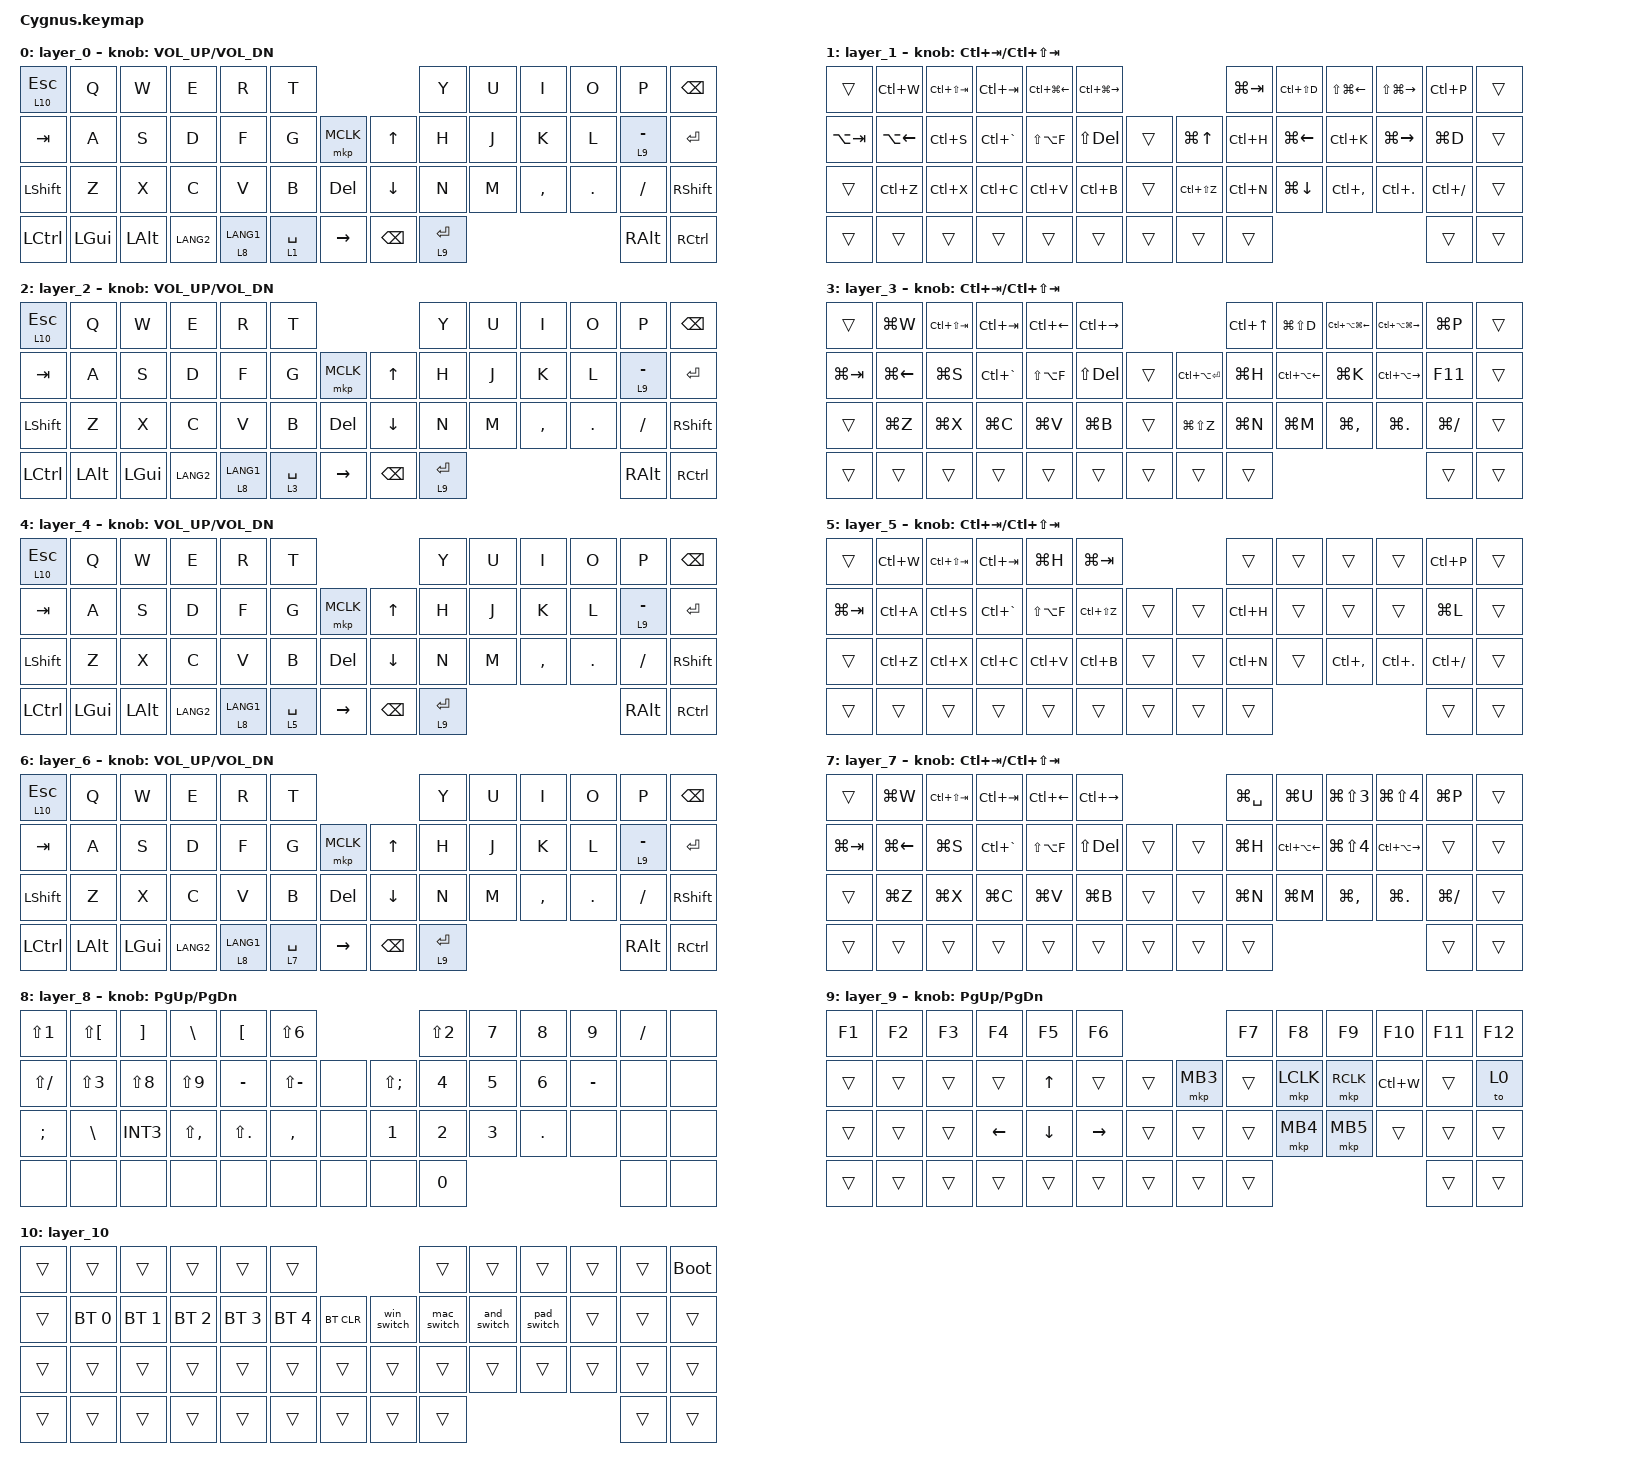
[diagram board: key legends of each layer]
#include <dt-bindings/zmk/mouse.h>
#include <behaviors.dtsi>
#include <dt-bindings/zmk/bt.h>
#include <dt-bindings/zmk/keys.h>
#include <dt-bindings/zmk/pointing.h>

// ============================================================
// Cygnus-M ZMK Keymap  (corrected)
//
// Layer map:
//   L0  Win_Base       L1  Win_Sub
//   L2  Mac_Base       L3  Mac_Sub
//   L4  Android_Base   L5  Android_Sub  (empty)
//   L6  iPad_Base      L7  iPad_Sub     (empty)
//   L8  SymNum         L9  Nav/Func
//  L10  Management
//
// Bottom-row positions (pos40–50) — sequential order:
//   40  LCTL   | 41  LGUI/LALT  | 42  LALT/LGUI  | 43  LANG2  <- 英数tap（L8アクセスなし）
//   44  L8_LT(8,LANG1) <- かなtap / L8hold  ※ 旧pos43から移動
//   45  LT(sub,SPC)   <- Spacetap / Subレイヤーhold
//   46  RIGHT(->)
//   47  BSPC          | 48  LT(9,RET) <- Entertap / L9hold
//   49  RALT   | 50  RCTL
//
// 設計確定事項（2026-06-26更新）:
//   L8アクセス: pos44 LANG1長押し（左サム）のみ <- エルゴルール準拠
//     ※ pos43(LANG2)からpos44(LANG1)へ移動（押しやすさ改善）
//     ※ lt8-L（右手Lキー）および lt8-BSPC は廃止済み
//   L9アクセス: pos48 RET長押し（右サム）+ pos25 MINUS長押しの2経路
//   pos45: 絶対に &mo 系にしないこと（bootloaderアクセス可能になるバグ）
//   pos44: &mt LALT LANG1 → &l8_lt 8 LANG1 に変更（L8アクセスをより押しやすい位置へ）
//   pos43: &l8_lt 8 LANG2 → &kp LANG2 に変更（英数のみ、L8アクセス廃止）
//   pos47: &lt 8 BSPC → &kp BSPC に変更（L8経路廃止）※旧変更
//   pos24（旧番号）: &lt 8 L → &kp L に変更（エルゴルール違反解消）※旧変更
// ============================================================

/ {
    behaviors {
        l8_lt: l8_layer_tap {
            compatible = "zmk,behavior-hold-tap";
            #binding-cells = <2>;
            flavor = "hold-preferred";
            tapping-term-ms = <200>;
            bindings = <&mo>, <&kp>;

            display-name = "L8 Layer-Tap";
        };
    };

    macros {
        // OS切り替え ＆ Bluetooth 自動接続マクロ

        win_switch: win_switch {
            compatible = "zmk,behavior-macro";
            #binding-cells = <0>;
            wait-ms = <200>;
            bindings = <&to 0 &bt BT_SEL 0>;
        };

        mac_switch: mac_switch {
            compatible = "zmk,behavior-macro";
            #binding-cells = <0>;
            wait-ms = <200>;
            bindings = <&to 2 &bt BT_SEL 1>;
        };

        and_switch: and_switch {
            compatible = "zmk,behavior-macro";
            #binding-cells = <0>;
            wait-ms = <200>;
            bindings = <&to 4 &bt BT_SEL 2>;
        };

        pad_switch: pad_switch {
            compatible = "zmk,behavior-macro";
            #binding-cells = <0>;
            wait-ms = <200>;
            bindings = <&to 6 &bt BT_SEL 3>;
        };
    };

    keymap {
        compatible = "zmk,keymap";

        // ============================================================
        // L0: Windows Base
        //   pos43 = LANG2              : tap=英数
        //   pos44 = L8_LT(8, LANG1)   : tap=かな  hold=L8(SymNum)
        //   pos45 = LT(1, SPACE)       : tap=Space hold=Win shortcuts
        // ============================================================

        layer_0 {
            bindings = <
&lt 10 ESC  &kp Q     &kp W     &kp E       &kp R           &kp T                               &kp Y      &kp U  &kp I      &kp O    &kp P        &kp BSPC
&kp TAB     &kp A     &kp S     &kp D       &kp F           &kp G        &mkp MCLK    &kp UP    &kp H      &kp J  &kp K      &kp L    &lt 9 MINUS  &kp RET
&kp LSHFT   &kp Z     &kp X     &kp C       &kp V           &kp B        &kp DEL      &kp DOWN  &kp N      &kp M  &kp COMMA  &kp DOT  &kp FSLH     &kp RSHFT
&kp LCTL    &kp LGUI  &kp LALT  &kp LANG2   &l8_lt 8 LANG1  &lt 1 SPACE  &kp RIGHT    &kp BSPC  &lt 9 RET                             &kp RALT      &kp RCTL
            >;

            sensor-bindings = <&inc_dec_kp C_VOL_UP C_VOL_DN>;
        };

        // ============================================================
        // L1: Windows Sub  (VPM shortcuts + Premiere Pro)
        //   TAB = Alt+Tab (window switch)    S = Ctrl+S (save)
        //   Z/X/C/V = Undo/Cut/Copy/Paste    B = VSCode sidebar
        //   U = Ctrl+Shift+D (apply default transition) [Premiere]
        //   G = Shift+Delete (ripple delete)             [Premiere]
        //   K = Ctrl+K (cut at playhead)                 [Premiere]
        //   ↑(inner) = Win+↑ (maximize, moved from K)
        //   ↓(inner) = Ctrl+Shift+Z (redo)               [Premiere]
        //   J/L = Win+←/→ (snap)       M = Win+↓ (minimize)
        //   / = Ctrl+/ (comment toggle)  , = Ctrl+, (settings)
        // ============================================================

        layer_1 {
            bindings = <
&trans       &kp LC(W)     &kp LC(LS(TAB))  &kp LC(TAB)    &kp LC(LG(LEFT))  &kp LC(LG(RIGHT))                           &kp LG(TAB)  &kp LC(LS(D))  &kp LS(LG(LEFT))  &kp LS(LG(RIGHT))  &kp LC(P)     &trans
&kp LA(TAB)  &kp LA(LEFT)  &kp LC(S)        &kp LC(GRAVE)  &kp LS(LA(F))     &kp LS(DEL)        &trans    &kp LG(UP)     &kp LC(H)    &kp LG(LEFT)   &kp LC(K)         &kp LG(RIGHT)      &kp LG(D)     &trans
&trans       &kp LC(Z)     &kp LC(X)        &kp LC(C)      &kp LC(V)         &kp LC(B)          &trans    &kp LC(LS(Z))  &kp LC(N)    &kp LG(DOWN)   &kp LC(COMMA)     &kp LC(DOT)        &kp LC(FSLH)  &trans
&trans       &trans        &trans           &trans         &trans            &trans             &trans    &trans         &trans                                                           &trans        &trans
            >;

            sensor-bindings = <&inc_dec_kp LC(TAB) LC(LS(TAB))>;
        };

        // ============================================================
        // L2: Mac Base
        //   col1/col2 = LALT/LGUI (Mac 配列)
        //   pos43 = LANG2              : tap=英数
        //   pos44 = L8_LT(8, LANG1)   : tap=かな  hold=L8(SymNum)
        //   pos45 = LT(3, SPACE)       : tap=Space hold=Mac shortcuts
        // ============================================================

        layer_2 {
            bindings = <
&lt 10 ESC  &kp Q     &kp W     &kp E       &kp R           &kp T                               &kp Y      &kp U  &kp I      &kp O    &kp P        &kp BSPC
&kp TAB     &kp A     &kp S     &kp D       &kp F           &kp G        &mkp MCLK    &kp UP    &kp H      &kp J  &kp K      &kp L    &lt 9 MINUS  &kp RET
&kp LSHFT   &kp Z     &kp X     &kp C       &kp V           &kp B        &kp DEL      &kp DOWN  &kp N      &kp M  &kp COMMA  &kp DOT  &kp FSLH     &kp RSHFT
&kp LCTL    &kp LALT  &kp LGUI  &kp LANG2   &l8_lt 8 LANG1  &lt 3 SPACE  &kp RIGHT    &kp BSPC  &lt 9 RET                             &kp RALT      &kp RCTL
            >;

            sensor-bindings = <&inc_dec_kp C_VOL_UP C_VOL_DN>;
        };

        // ============================================================
        // L3: Mac Sub  (VPM shortcuts + Premiere Pro — 同物理位置 = 同機能)
        //   TAB = Cmd+Tab (app switch)       S = Cmd+S (save)
        //   Z/X/C/V = Undo/Cut/Copy/Paste    B = VSCode sidebar
        //   U = Cmd+Shift+D (apply default transition) [Premiere]
        //   G = Shift+Delete (ripple delete)             [Premiere]
        //   K = Cmd+K (cut at playhead)                  [Premiere]
        //   ↑(inner) = Moom Fullscreen (moved from K)
        //   ↓(inner) = Cmd+Shift+Z (redo)                [Premiere]
        //   J/L = Moom ←/→        M = Cmd+M (minimize)
        //   / = Cmd+/ (comment toggle)  , = Cmd+, (settings)
        // ============================================================

        layer_3 {
            bindings = <
&trans       &kp LG(W)     &kp LC(LS(TAB))  &kp LC(TAB)    &kp LC(LEFT)   &kp LC(RIGHT)                             &kp LC(UP)  &kp LG(LS(D))     &kp LC(LA(LG(LEFT)))  &kp LC(LA(LG(RIGHT)))  &kp LG(P)     &trans
&kp LG(TAB)  &kp LG(LEFT)  &kp LG(S)        &kp LC(GRAVE)  &kp LS(LA(F))  &kp LS(DEL)    &trans    &kp LC(LA(RET))  &kp LG(H)   &kp LC(LA(LEFT))  &kp LG(K)             &kp LC(LA(RIGHT))      &kp F11       &trans
&trans       &kp LG(Z)     &kp LG(X)        &kp LG(C)      &kp LG(V)      &kp LG(B)      &trans    &kp LG(LS(Z))    &kp LG(N)   &kp LG(M)         &kp LG(COMMA)         &kp LG(DOT)            &kp LG(FSLH)  &trans
&trans       &trans        &trans           &trans         &trans         &trans         &trans    &trans           &trans                                                                     &trans        &trans
            >;

            sensor-bindings = <&inc_dec_kp LC(TAB) LC(LS(TAB))>;
        };

        // ============================================================
        // L4: Android Base  (L0 と同構成、サブレイヤーのみ L5)
        // ============================================================

        layer_4 {
            bindings = <
&lt 10 ESC  &kp Q     &kp W     &kp E       &kp R           &kp T                               &kp Y      &kp U  &kp I      &kp O    &kp P        &kp BSPC
&kp TAB     &kp A     &kp S     &kp D       &kp F           &kp G        &mkp MCLK    &kp UP    &kp H      &kp J  &kp K      &kp L    &lt 9 MINUS  &kp RET
&kp LSHFT   &kp Z     &kp X     &kp C       &kp V           &kp B        &kp DEL      &kp DOWN  &kp N      &kp M  &kp COMMA  &kp DOT  &kp FSLH     &kp RSHFT
&kp LCTL    &kp LGUI  &kp LALT  &kp LANG2   &l8_lt 8 LANG1  &lt 5 SPACE  &kp RIGHT    &kp BSPC  &lt 9 RET                             &kp RALT      &kp RCTL
            >;

            sensor-bindings = <&inc_dec_kp C_VOL_UP C_VOL_DN>;
        };

        // ============================================================
        // L5: Android Sub  (L1 をベースに Android 向け調整)
        //
        //   L1 と同じ位置 = 同じ機能 (VPM) ← Ctrl+key は共通
        //   変更点:
        //     R  = Meta+H   (Home         ← 仮想デスクトップ左の代替)
        //     T  = Meta+Tab (Recent apps  ← 仮想デスクトップ右の代替)
        //     TAB= Meta+Tab (App switch   ← Alt+Tab の代替)
        //     A  = Ctrl+A   (Select all   ← ブラウザ Back よりも頻用)
        //     G  = Ctrl+Shift+Z (Redo     ← Android 標準 Redo)
        //     J/K/L = trans (ウィンドウスナップ非対応)
        //     -  = Meta+L   (Lock screen  ← Win+D の代替)
        //     M  = trans    (Win+Down 相当なし)
        // ============================================================

        layer_5 {
            bindings = <
&trans       &kp LC(W)  &kp LC(LS(TAB))  &kp LC(TAB)    &kp LG(H)      &kp LG(TAB)                      &trans     &trans  &trans         &trans       &kp LC(P)     &trans
&kp LG(TAB)  &kp LC(A)  &kp LC(S)        &kp LC(GRAVE)  &kp LS(LA(F))  &kp LC(LS(Z))  &trans    &trans  &kp LC(H)  &trans  &trans         &trans       &kp LG(L)     &trans
&trans       &kp LC(Z)  &kp LC(X)        &kp LC(C)      &kp LC(V)      &kp LC(B)      &trans    &trans  &kp LC(N)  &trans  &kp LC(COMMA)  &kp LC(DOT)  &kp LC(FSLH)  &trans
&trans       &trans     &trans           &trans         &trans         &trans         &trans    &trans  &trans                                         &trans        &trans
            >;

            sensor-bindings = <&inc_dec_kp LC(TAB) LC(LS(TAB))>;
        };

        // ============================================================
        // L6: iPad Base  (L2 と同構成、サブレイヤーのみ L7)
        // ============================================================

        layer_6 {
            bindings = <
&lt 10 ESC  &kp Q     &kp W     &kp E       &kp R           &kp T                               &kp Y      &kp U  &kp I      &kp O    &kp P        &kp BSPC
&kp TAB     &kp A     &kp S     &kp D       &kp F           &kp G        &mkp MCLK    &kp UP    &kp H      &kp J  &kp K      &kp L    &lt 9 MINUS  &kp RET
&kp LSHFT   &kp Z     &kp X     &kp C       &kp V           &kp B        &kp DEL      &kp DOWN  &kp N      &kp M  &kp COMMA  &kp DOT  &kp FSLH     &kp RSHFT
&kp LCTL    &kp LALT  &kp LGUI  &kp LANG2   &l8_lt 8 LANG1  &lt 7 SPACE  &kp RIGHT    &kp BSPC  &lt 9 RET                             &kp RALT      &kp RCTL
            >;

            sensor-bindings = <&inc_dec_kp C_VOL_UP C_VOL_DN>;
        };

        // ============================================================
        // L7: iPad Sub  (L3 をベースに iPadOS 向け調整)
        //
        //   L3 と同じ位置 = 同じ機能 (VPM) ← Cmd+key は共通
        //   変更点:
        //     Y  = Cmd+Space  (Spotlight     ← Mission Control 非対応)
        //     I  = Cmd+Shift+3 (Screenshot   ← Mac 固有ショートカットの代替)
        //     O  = Cmd+Shift+4 (Screenshot→クリップボード)
        //     K  = Cmd+Shift+4 (Screenshot   ← Moom fullscreen 非対応)
        //     -  = trans      (F11=デスクトップ表示 は iPad 非対応)
        // ============================================================

        layer_7 {
            bindings = <
&trans       &kp LG(W)     &kp LC(LS(TAB))  &kp LC(TAB)    &kp LC(LEFT)   &kp LC(RIGHT)                    &kp LG(SPACE)  &kp LG(U)         &kp LG(LS(N3))  &kp LG(LS(N4))     &kp LG(P)     &trans
&kp LG(TAB)  &kp LG(LEFT)  &kp LG(S)        &kp LC(GRAVE)  &kp LS(LA(F))  &kp LS(DEL)    &trans    &trans  &kp LG(H)      &kp LC(LA(LEFT))  &kp LG(LS(N4))  &kp LC(LA(RIGHT))  &trans        &trans
&trans       &kp LG(Z)     &kp LG(X)        &kp LG(C)      &kp LG(V)      &kp LG(B)      &trans    &trans  &kp LG(N)      &kp LG(M)         &kp LG(COMMA)   &kp LG(DOT)        &kp LG(FSLH)  &trans
&trans       &trans        &trans           &trans         &trans         &trans         &trans    &trans  &trans                                                              &trans        &trans
            >;

            sensor-bindings = <&inc_dec_kp LC(TAB) LC(LS(TAB))>;
        };

        // ============================================================
        // L8: SymNum - JIS layout adjusted
        //   左手 = 記号  右手 = テンキー
        //   pos48 (右サム隣) = 0  ← トラックボール使用中も 0 入力可
        //   OS側が日本語/JIS配列の前提
        //   L8 intended output on JIS:
        //   Row1: ! ` [ ] " '   * 7 8 9 /
        //   Row2: ? # ( ) - =   + 4 5 6 -
        //   Row3: ; @ [ ] < >   , 1 2 3 .
        //   
        //   Note:
        //   ZMK keycodes below are physical operations for JIS layout.
        //   Example: &kp LS(SQT) means Shift + : key, which outputs * on JIS.
        // ============================================================

        layer_8 {
            bindings = <
        &kp LS(N1)    &kp LS(LBKT)  &kp RBKT     &kp BSLH      &kp LBKT      &kp LS(N6)                  &kp LS(N2)    &kp N7  &kp N8  &kp N9  &kp FSLH  &none
        &kp LS(FSLH)  &kp LS(N3)    &kp LS(N8)   &kp LS(N9)    &kp MINUS     &kp LS(MINUS)  &none      &kp LS(SEMI)  &kp N4  &kp N5  &kp N6  &kp MINUS  &none  &none
        &kp SEMI      &kp BSLH      &kp INT3     &kp LS(COMMA) &kp LS(DOT)   &kp COMMA      &none      &kp N1        &kp N2  &kp N3  &kp DOT  &none      &none  &none
        &none         &none         &none        &none         &none         &none          &none      &none         &kp N0                         &none  &none
            >;

            sensor-bindings = <&inc_dec_kp PG_UP PG_DN>;
        };

        // ============================================================
        // L9: Nav/Func  (オートマウス移行先レイヤー)
        //   Row1 = F1–F12
        //   左手 F/C/V/B = ↑/←/↓/→
        //   右手 H=MB3(中クリック)  J=LCLK  K=RCLK  L=Ctrl+W(タブ閉じる)
        //   右手 M=MB4(戻る)  ,=MB5(進む)
        //   RET(pos25) = &to 0  ← L9出口キー（L0に戻る）
        //   エンコーダー = ページスクロール (PG_UP/PG_DN)
        // ============================================================

        layer_9 {
            bindings = <
&kp F1  &kp F2  &kp F3  &kp F4    &kp F5    &kp F6                       &kp F7  &kp F8     &kp F9     &kp F10  &kp F11  &kp F12
&trans  &trans  &trans  &trans    &kp UP    &trans     &trans    &mkp MB3  &trans  &mkp LCLK  &mkp RCLK  &kp LC(W)  &trans   &to 0
&trans  &trans  &trans  &kp LEFT  &kp DOWN  &kp RIGHT  &trans    &trans  &trans  &mkp MB4   &mkp MB5   &trans   &trans   &trans
&trans  &trans  &trans  &trans    &trans    &trans     &trans    &trans  &trans                                 &trans   &trans
            >;

            sensor-bindings = <&inc_dec_kp PG_UP PG_DN>;
        };

        // ============================================================
        // L10: Management  (ESC 長押しでアクセス)
        //   Row1 BSPC = BOOTLOADER  ← 誤爆注意
        //   Row2 A-G = BT_SEL 0-4 / BT_CLR
        //   Row2 右側 = OS 切替マクロ (Win/Mac/Android/iPad)
        // ============================================================

        layer_10 {
            bindings = <
&trans      &trans        &trans        &trans        &trans        &trans                               &trans       &trans       &trans       &trans  &trans  &bootloader
&trans      &bt BT_SEL 0  &bt BT_SEL 1  &bt BT_SEL 2  &bt BT_SEL 3  &bt BT_SEL 4  &bt BT_CLR    &win_switch  &mac_switch  &and_switch  &pad_switch  &trans  &trans  &trans
&trans      &trans        &trans        &trans        &trans        &trans        &trans      &trans    &trans       &trans       &trans       &trans  &trans  &trans
&trans      &trans        &trans        &trans        &trans        &trans        &trans      &trans    &trans                                                 &trans  &trans
            >;
        };
    };
};
